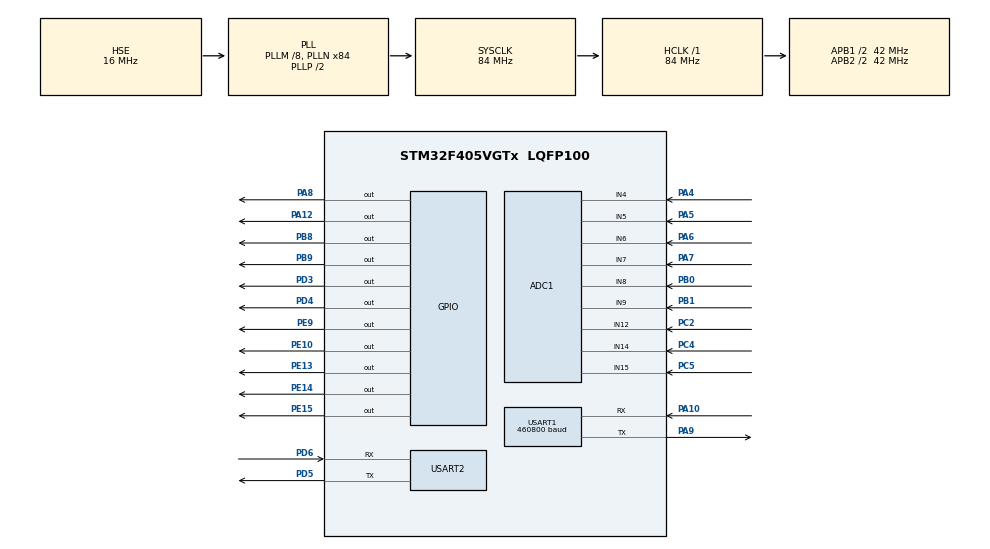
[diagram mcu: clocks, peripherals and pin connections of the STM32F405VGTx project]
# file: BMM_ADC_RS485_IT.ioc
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ADC1.Channel-0\#ChannelRegularConversion=ADC_CHANNEL_4
ADC1.Channel-1\#ChannelRegularConversion=ADC_CHANNEL_5
ADC1.Channel-2\#ChannelRegularConversion=ADC_CHANNEL_6
ADC1.Channel-3\#ChannelRegularConversion=ADC_CHANNEL_7
ADC1.Channel-4\#ChannelRegularConversion=ADC_CHANNEL_8
ADC1.Channel-5\#ChannelRegularConversion=ADC_CHANNEL_9
ADC1.Channel-6\#ChannelRegularConversion=ADC_CHANNEL_12
ADC1.Channel-7\#ChannelRegularConversion=ADC_CHANNEL_14
ADC1.Channel-8\#ChannelRegularConversion=ADC_CHANNEL_15
ADC1.ContinuousConvMode=ENABLE
ADC1.NbrOfConversion=9
ADC1.NbrOfConversionFlag=1
ADC1.Rank-0\#ChannelRegularConversion=1
ADC1.Rank-1\#ChannelRegularConversion=2
ADC1.Rank-2\#ChannelRegularConversion=3
ADC1.Rank-3\#ChannelRegularConversion=4
ADC1.Rank-4\#ChannelRegularConversion=5
ADC1.Rank-5\#ChannelRegularConversion=6
ADC1.Rank-6\#ChannelRegularConversion=7
ADC1.Rank-7\#ChannelRegularConversion=8
ADC1.Rank-8\#ChannelRegularConversion=9
ADC1.SamplingTime-0\#ChannelRegularConversion=ADC_SAMPLETIME_480CYCLES
ADC1.SamplingTime-1\#ChannelRegularConversion=ADC_SAMPLETIME_480CYCLES
ADC1.SamplingTime-2\#ChannelRegularConversion=ADC_SAMPLETIME_480CYCLES
ADC1.SamplingTime-3\#ChannelRegularConversion=ADC_SAMPLETIME_480CYCLES
ADC1.SamplingTime-4\#ChannelRegularConversion=ADC_SAMPLETIME_480CYCLES
ADC1.SamplingTime-5\#ChannelRegularConversion=ADC_SAMPLETIME_480CYCLES
ADC1.SamplingTime-6\#ChannelRegularConversion=ADC_SAMPLETIME_480CYCLES
ADC1.SamplingTime-7\#ChannelRegularConversion=ADC_SAMPLETIME_480CYCLES
ADC1.SamplingTime-8\#ChannelRegularConversion=ADC_SAMPLETIME_480CYCLES
ADC1.master=1
Mcu.Family=STM32F4
Mcu.Name=STM32F405VGTx
Mcu.Package=LQFP100
NVIC.PriorityGroup=NVIC_PRIORITYGROUP_4
NVIC.TIM2_IRQn=true\:0\:0\:false\:false\:true\:true\:true
PA10.Mode=Asynchronous
PA10.Signal=USART1_RX
PA12.Signal=GPIO_Output
PA13.Mode=Serial_Wire
PA13.Signal=SYS_JTMS-SWDIO
PA14.Mode=Serial_Wire
PA14.Signal=SYS_JTCK-SWCLK
PA4.Signal=ADCx_IN4
PA5.Signal=ADCx_IN5
PA6.Signal=ADCx_IN6
PA7.Signal=ADCx_IN7
PA8.Signal=GPIO_Output
PA9.Mode=Asynchronous
PA9.Signal=USART1_TX
PB0.Signal=ADCx_IN8
PB1.Signal=ADCx_IN9
PB8.Signal=GPIO_Output
PB9.Signal=GPIO_Output
PC2.Signal=ADCx_IN12
PC4.Signal=ADCx_IN14
PC5.Signal=ADCx_IN15
PD3.Signal=GPIO_Output
PD4.Signal=GPIO_Output
PD5.Mode=Asynchronous
PD5.Signal=USART2_TX
PD6.Mode=Asynchronous
PD6.Signal=USART2_RX
PE10.GPIO_PuPd=GPIO_NOPULL
PE10.PinState=GPIO_PIN_RESET
PE10.Signal=GPIO_Output
PE13.Signal=GPIO_Output
PE14.Signal=GPIO_Output
PE15.Signal=GPIO_Output
PE9.Signal=GPIO_Output
PH0-OSC_IN.Mode=HSE-External-Oscillator
PH0-OSC_IN.Signal=RCC_OSC_IN
PH1-OSC_OUT.Mode=HSE-External-Oscillator
PH1-OSC_OUT.Signal=RCC_OSC_OUT
ProjectManager.HeapSize=0x200
ProjectManager.StackSize=0x400
ProjectManager.TargetToolchain=STM32CubeIDE
RCC.48MHZClocksFreq_Value=42000000
RCC.AHBFreq_Value=84000000
RCC.APB1CLKDivider=RCC_HCLK_DIV2
RCC.APB1Freq_Value=42000000
RCC.APB1TimFreq_Value=84000000
RCC.APB2CLKDivider=RCC_HCLK_DIV2
RCC.APB2Freq_Value=42000000
RCC.APB2TimFreq_Value=84000000
RCC.CortexFreq_Value=10500000
RCC.Cortex_Div=SYSTICK_CLKSOURCE_HCLK_DIV8
RCC.HCLKFreq_Value=84000000
RCC.HSE_VALUE=16000000
RCC.HSI_VALUE=16000000
RCC.LSE_VALUE=32768
RCC.PLLM=8
RCC.PLLN=84
RCC.PLLSourceVirtual=RCC_PLLSOURCE_HSE
RCC.SYSCLKFreq_VALUE=84000000
RCC.SYSCLKSource=RCC_SYSCLKSOURCE_PLLCLK
RCC.VCOOutputFreq_Value=168000000
SH.ADCx_IN12.0=ADC1_IN12,IN12
SH.ADCx_IN14.0=ADC1_IN14,IN14
SH.ADCx_IN15.0=ADC1_IN15,IN15
SH.ADCx_IN4.0=ADC1_IN4,IN4
SH.ADCx_IN5.0=ADC1_IN5,IN5
SH.ADCx_IN6.0=ADC1_IN6,IN6
SH.ADCx_IN7.0=ADC1_IN7,IN7
SH.ADCx_IN8.0=ADC1_IN8,IN8
SH.ADCx_IN9.0=ADC1_IN9,IN9
TIM2.AutoReloadPreload=TIM_AUTORELOAD_PRELOAD_ENABLE
TIM2.Period=1
TIM2.Prescaler=8400
USART1.BaudRate=460800
USART1.VirtualMode=VM_ASYNC
USART2.VirtualMode=VM_ASYNC
VP_TIM2_VS_ClockSourceINT.Mode=Internal
board=custom

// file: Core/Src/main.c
/* USER CODE BEGIN Header */
/**
  ******************************************************************************
  * @file           : main.c
  * @brief          : Main program body
  ******************************************************************************
  * @attention
  *
  * <h2><center>&copy; Copyright (c) 2021 STMicroelectronics.
  * All rights reserved.</center></h2>
  *
  * This software component is licensed by ST under BSD 3-Clause license,
  * the "License"; You may not use this file except in compliance with the
  * License. You may obtain a copy of the License at:
  *                        opensource.org/licenses/BSD-3-Clause
  *
  ******************************************************************************
  */
/* USER CODE END Header */
#include "main.h"
#include <math.h>
#include "stdio.h"

ADC_HandleTypeDef hadc1;

TIM_HandleTypeDef htim2;

UART_HandleTypeDef huart1;
UART_HandleTypeDef huart2;

void SystemClock_Config(void);
static void MX_GPIO_Init(void);
static void MX_ADC1_Init(void);
static void MX_TIM2_Init(void);
static void MX_USART1_UART_Init(void);
static void MX_USART2_UART_Init(void);
/* USER CODE BEGIN PFP */
ADC_ChannelConfTypeDef sConfig = {0};
/* USER CODE END PFP */

/* USER CODE BEGIN 0 */
//*************************funtion creation to select de channels ADC*******************************************
void SelectCh4 (void){
	ADC_ChannelConfTypeDef sConfig = {0};
	sConfig.Channel = ADC_CHANNEL_4;
	  sConfig.Rank = 1;
	  sConfig.SamplingTime = ADC_SAMPLETIME_480CYCLES;
	  if (HAL_ADC_ConfigChannel(&hadc1, &sConfig) != HAL_OK)
	  {
	    Error_Handler();
	  }
}

void SelectCh5 (void){
	ADC_ChannelConfTypeDef sConfig = {0};
	sConfig.Channel = ADC_CHANNEL_5;
	  sConfig.Rank = 1;
	  sConfig.SamplingTime = ADC_SAMPLETIME_480CYCLES;
	  if (HAL_ADC_ConfigChannel(&hadc1, &sConfig) != HAL_OK)
	  {
	    Error_Handler();
	  }

}

void SelectCh6 (void){
	ADC_ChannelConfTypeDef sConfig = {0};

	sConfig.Channel = ADC_CHANNEL_6;
	  sConfig.Rank = 1;
	  sConfig.SamplingTime = ADC_SAMPLETIME_480CYCLES;
	  if (HAL_ADC_ConfigChannel(&hadc1, &sConfig) != HAL_OK)
	  {
	    Error_Handler();
	  }

}

void SelectCh7 (void){
	ADC_ChannelConfTypeDef sConfig = {0};
	sConfig.Channel = ADC_CHANNEL_7;
	  sConfig.Rank = 1;
	  sConfig.SamplingTime = ADC_SAMPLETIME_480CYCLES;
	  if (HAL_ADC_ConfigChannel(&hadc1, &sConfig) != HAL_OK)
	  {
	    Error_Handler();
	  }

}

void SelectCh8 (void){
	ADC_ChannelConfTypeDef sConfig = {0};
	sConfig.Channel = ADC_CHANNEL_8;
	  sConfig.Rank = 1;
	  sConfig.SamplingTime = ADC_SAMPLETIME_480CYCLES;
	  if (HAL_ADC_ConfigChannel(&hadc1, &sConfig) != HAL_OK)
	  {
	    Error_Handler();
	  }

}
void SelectCh9 (void){
	ADC_ChannelConfTypeDef sConfig = {0};
	sConfig.Channel = ADC_CHANNEL_9;
	  sConfig.Rank = 1;
	  sConfig.SamplingTime = ADC_SAMPLETIME_480CYCLES;
	  if (HAL_ADC_ConfigChannel(&hadc1, &sConfig) != HAL_OK)
	  {
	    Error_Handler();
	  }

}

void SelectCh12 (void){
	ADC_ChannelConfTypeDef sConfig = {0};
	sConfig.Channel = ADC_CHANNEL_12;
	  sConfig.Rank = 1;
	  sConfig.SamplingTime = ADC_SAMPLETIME_480CYCLES;
	  if (HAL_ADC_ConfigChannel(&hadc1, &sConfig) != HAL_OK)
	  {
	    Error_Handler();
	  }

}

void SelectCh14 (void){
	ADC_ChannelConfTypeDef sConfig = {0};
	sConfig.Channel = ADC_CHANNEL_14;
	  sConfig.Rank = 1;
	  sConfig.SamplingTime = ADC_SAMPLETIME_480CYCLES;
	  if (HAL_ADC_ConfigChannel(&hadc1, &sConfig) != HAL_OK)
	  {
	    Error_Handler();
	  }

}

void SelectCh15 (void){
	ADC_ChannelConfTypeDef sConfig = {0};
	sConfig.Channel = ADC_CHANNEL_15;
	  sConfig.Rank = 1;
	  sConfig.SamplingTime = ADC_SAMPLETIME_480CYCLES;
	  if (HAL_ADC_ConfigChannel(&hadc1, &sConfig) != HAL_OK)
	  {
	    Error_Handler();
	  }

}
//******************************************GPIO INITIALIZATION BEFORE START LOOP.............
void UART_BMM_INIT (void){

	//HAL_GPIO_WritePin(GPIOD, GPIO_PIN_13, GPIO_PIN_SET);
	//HAL_GPIO_WritePin(GPIOB, GPIO_PIN_9, GPIO_PIN_SET);
	//HAL_GPIO_WritePin(GPIOD, GPIO_PIN_11, GPIO_PIN_SET);
	//HAL_GPIO_WritePin(GPIOD, GPIO_PIN_10, GPIO_PIN_SET);
	HAL_GPIO_WritePin(GPIOA, GPIO_PIN_8, GPIO_PIN_SET);
	HAL_GPIO_WritePin(GPIOE, GPIO_PIN_10, GPIO_PIN_RESET);
	HAL_GPIO_WritePin(GPIOE, GPIO_PIN_9, GPIO_PIN_RESET);

	HAL_GPIO_WritePin(GPIOE, GPIO_PIN_10, GPIO_PIN_SET);
		HAL_GPIO_WritePin(GPIOE, GPIO_PIN_9, GPIO_PIN_SET);
}

#define buffer 100 //BUFFER TO READ VALUES OF ADC
//BUFFERS 9 BUFFERS OF 100 VALUES
int ADC_VAL[buffer];
int ADC_VAL2[buffer];
int ADC_VAL3[buffer];
int ADC_VAL4[buffer];
int ADC_VAL5[buffer];
int ADC_VAL6[buffer];
int ADC_VAL7[buffer];
int ADC_VAL8[buffer];
int ADC_VAL9[buffer];
//*********FLAG TO INDICATION OF BUFFERS ARE FILL*************
int FLAG_ADC=0;
//************STRINGS TO SEND FOR RS485************
char DATA[30];
char DATA2[30];
char DATA3[30];
char DATA4[30];
char DATA5[30];
char DATA6[30];
char DATA7[30];
char DATA8[30];
char DATA9[30];
//*******************AVERAGE TO ADC'S  100 VALUES*************
double AVG1=0;
double AVG2=0;
double AVG3=0;
double AVG4=0;
double AVG5=0;
double AVG6=0;
double AVG7=0;
double AVG8=0;
double AVG9=0;

//**************STANDARD DEVIATION OF adc'S*****************

double SD1=0;
double SD2=0;
double SD3=0;
double SD4=0;
double SD5=0;
double SD6=0;
double SD7=0;
double SD8=0;
double SD9=0;
//*****************VARIABLES TO TRANSFORM DOUBLE  INTO INTERGET
int SD1_INT=0;
int SD2_INT=0;
int SD3_INT=0;
int SD4_INT=0;
int SD5_INT=0;
int SD6_INT=0;
int SD7_INT=0;
int SD8_INT=0;
int SD9_INT=0;

int AVG_INT1=0;
int AVG_INT2=0;
int AVG_INT3=0;
int AVG_INT4=0;
int AVG_INT5=0;
int AVG_INT6=0;
int AVG_INT7=0;
int AVG_INT8=0;
int AVG_INT9=0;

//*********INDICE TO TRAVEL ON THE BUFFFER*************
int indice=0;
/* USER CODE END 0 */

int main(void)
{

  /* MCU Configuration--------------------------------------------------------*/

  /* Reset of all peripherals, Initializes the Flash interface and the Systick. */
  HAL_Init();

  /* Configure the system clock */
  SystemClock_Config();

  /* Initialize all configured peripherals */
  MX_GPIO_Init();
  MX_ADC1_Init();
  MX_TIM2_Init();
  MX_USART1_UART_Init();
  MX_USART2_UART_Init();
  /* USER CODE BEGIN 2 */
  UART_BMM_INIT();	//inicializamos pins para rs485

  HAL_TIM_Base_Start_IT(&htim2); // iniciamos timer2

  /* USER CODE END 2 */

  /* Infinite loop */
  while (1)
  {

    /* USER CODE BEGIN 3 */

		if (FLAG_ADC == 1) {
			FLAG_ADC=0;

			//calculate the average of each channel

			for(int j=0;j<=99;j++){
							AVG1=AVG1+ADC_VAL[j];

						}
			AVG1=AVG1/100;
			//avegare calculated
			//caculate de standard deviation

			for(int j=0;j<=99;j++){
			  SD1+=pow(ADC_VAL[j]-AVG1,2);
			  SD1=sqrt(SD1/100);
			 }

			AVG_INT1=AVG1;
			SD1_INT=SD1*1000;
			for(int j=0;j<=99;j++){
							AVG2=AVG2+ADC_VAL2[j];

						}
			AVG2=AVG2/100;
			//avegare calculated
						//caculate de standard deviation

						for(int j=0;j<=99;j++){
						  SD2+=pow(ADC_VAL2[j]-AVG2,2);
						  SD2=sqrt(SD2/100);
						 }

						AVG_INT2=AVG2;
						SD2_INT=SD2*1000;

			for(int j=0;j<=99;j++){
							AVG3=AVG3+ADC_VAL3[j];

						}
			AVG3=AVG3/100;
			//avegare calculated
						//caculate de standard deviation

						for(int j=0;j<=99;j++){
						  SD3+=pow(ADC_VAL3[j]-AVG3,2);
						  SD3=sqrt(SD3/100);
						 }

						AVG_INT3=AVG3;
						SD3_INT=SD3*1000;

			for(int j=0;j<=99;j++){
							AVG4=AVG4+ADC_VAL4[j];

						}
			AVG4=AVG4/100;
			//avegare calculated
						//caculate de standard deviation

						for(int j=0;j<=99;j++){
						  SD4+=pow(ADC_VAL4[j]-AVG4,2);
						  SD4=sqrt(SD4/100);
						 }

						AVG_INT4=AVG4;
						SD4_INT=SD4*1000;
			for(int j=0;j<=99;j++){
							AVG5=AVG5+ADC_VAL5[j];

						}
			AVG5=AVG5/100;
			//avegare calculated
						//caculate de standard deviation

						for(int j=0;j<=99;j++){
						  SD5+=pow(ADC_VAL5[j]-AVG5,2);
						  SD5=sqrt(SD5/100);
						 }

						AVG_INT5=AVG5;
						SD5_INT=SD5*1000;

			for(int j=0;j<=99;j++){
							AVG6=AVG6+ADC_VAL6[j];

						}
			AVG6=AVG6/100;
			//avegare calculated
						//caculate de standard deviation

						for(int j=0;j<=99;j++){
						  SD6+=pow(ADC_VAL6[j]-AVG6,2);
						  SD6=sqrt(SD6/100);
						 }

						AVG_INT6=AVG6;
						SD6_INT=SD6*1000;

			for(int j=0;j<=99;j++){
							AVG7=AVG7+ADC_VAL7[j];

						}
			AVG7=AVG7/100;
			//avegare calculated
						//caculate de standard deviation

						for(int j=0;j<=99;j++){
						  SD7+=pow(ADC_VAL7[j]-AVG7,2);
						  SD7=sqrt(SD7/100);
						 }

//***********************************TEMPERATURE MEASUREMENT*************************
						 double Rntc=0;
						 double Vtemp=(AVG7*2.5)/4096;

						 Rntc=(11000/(Vtemp+0.189268/2.8571425))-11000;

						 //Rntc=((27500/(Vtemp/0.9530))-27500)/2.5;

						double TempNTC=pow((((Rntc/10000)/3976)+(1/298.15)),-1);
						 TempNTC=TempNTC-273.15;

//******************************************************************
						AVG_INT7=AVG7;
						SD7_INT=SD7*1000;

			for(int j=0;j<=99;j++){
							AVG8=AVG8+ADC_VAL8[j];

						}
			AVG8=AVG8/100;
			//avegare calculated
						//caculate de standard deviation

						for(int j=0;j<=99;j++){
						  SD8+=pow(ADC_VAL8[j]-AVG8,2);
						  SD8=sqrt(SD8/100);
						 }

						AVG_INT8=AVG8;
						SD8_INT=SD8*1000;

			for(int j=0;j<=99;j++){
							AVG9=AVG9+ADC_VAL9[j];

									}
			AVG9=AVG9/100;
			//avegare calculated
						//caculate de standard deviation

						for(int j=0;j<=99;j++){
						  SD9+=pow(ADC_VAL9[j]-AVG9,2);
						  SD9=sqrt(SD9/100);
						 }

						AVG_INT9=AVG9;
						SD9_INT=SD9*1000;

 			HAL_GPIO_WritePin(GPIOA, GPIO_PIN_12, GPIO_PIN_SET);
			HAL_UART_Transmit(&huart1, "V1:", 3, 100);
			//for (int i = 0; i <= 99; i++) {

				sprintf(DATA, ";%d;----SIGMA:;%d", AVG_INT1,SD1_INT);

				HAL_UART_Transmit(&huart1, DATA, sizeof(DATA), HAL_MAX_DELAY);

			//}
			HAL_UART_Transmit(&huart1, "\n\r", 4, 100);

			HAL_UART_Transmit(&huart1, "V2:", 3, 100);
			//for (int i = 0; i <= 99; i++) {

			sprintf(DATA2, ";%d;----SIGMA:;%d", AVG_INT2,SD2_INT);

				HAL_UART_Transmit(&huart1, DATA2, sizeof(DATA2), HAL_MAX_DELAY);

			//}
			HAL_UART_Transmit(&huart1, "\n\r", 4, 100);

			HAL_UART_Transmit(&huart1, "V3:", 3, 100);
			//for (int i = 0; i <= 99; i++) {

			sprintf(DATA3, ";%d;----SIGMA:;%d", AVG_INT3,SD3_INT);

				HAL_UART_Transmit(&huart1, DATA3, sizeof(DATA3), HAL_MAX_DELAY);

			//}
			HAL_UART_Transmit(&huart1, "\n\r", 4, 100);

			HAL_UART_Transmit(&huart1, "V4:", 3, 100);
			//for (int i = 0; i <= 99; i++) {

			sprintf(DATA4, ";%d;----SIGMA:;%d", AVG_INT4,SD4_INT);

				HAL_UART_Transmit(&huart1, DATA4, sizeof(DATA4), HAL_MAX_DELAY);

			//}
			HAL_UART_Transmit(&huart1, "\n\r", 4, 100);

			HAL_UART_Transmit(&huart1, "V5:", 3, 100);
			//for (int i = 0; i <= 99; i++) {

			sprintf(DATA5, ";%d;----SIGMA:;%d", AVG_INT5,SD5_INT);

				HAL_UART_Transmit(&huart1, DATA5, sizeof(DATA5), HAL_MAX_DELAY);

			//}
			HAL_UART_Transmit(&huart1, "\n\r", 4, 100);

			HAL_UART_Transmit(&huart1, "V6:", 3, 100);
			//for (int i = 0; i <= 99; i++) {

			sprintf(DATA6, ";%d;----SIGMA:;%d", AVG_INT6,SD6_INT);

				HAL_UART_Transmit(&huart1, DATA6, sizeof(DATA6), HAL_MAX_DELAY);

			//}
			HAL_UART_Transmit(&huart1, "\n\r", 4, 100);

			HAL_UART_Transmit(&huart1, "V7:", 3, 100);
			//for (int i = 0; i <= 99; i++) {

			sprintf(DATA7, ";%d;----SIGMA:;%d", AVG_INT7,SD7_INT);

				HAL_UART_Transmit(&huart1, DATA7, sizeof(DATA7), HAL_MAX_DELAY);

			//}
			HAL_UART_Transmit(&huart1, "\n\r", 4, 100);

			HAL_UART_Transmit(&huart1, "V8:", 3, 100);
			//for (int i = 0; i <= 99; i++) {

			sprintf(DATA8, ";%d;----SIGMA:;%d", AVG_INT8,SD8_INT);

				HAL_UART_Transmit(&huart1, DATA8, sizeof(DATA8), HAL_MAX_DELAY);

			//}
			HAL_UART_Transmit(&huart1, "\n\r", 4, 100);

			HAL_UART_Transmit(&huart1, "V9", 3, 100);
			//for (int i = 0; i <= 99; i++) {

			sprintf(DATA9, ";%d;----SIGMA:;%d", AVG_INT9,SD9_INT);

				HAL_UART_Transmit(&huart1, DATA9, sizeof(DATA9), HAL_MAX_DELAY);

			//}
			HAL_UART_Transmit(&huart1, "\n\r", 4, 100);

		  HAL_GPIO_WritePin(GPIOA, GPIO_PIN_12, GPIO_PIN_RESET);
		  HAL_TIM_Base_Start_IT(&htim2);

//reset variables
		  AVG1=0;
		  AVG2=0;
		  AVG3=0;
		  AVG4=0;
		  AVG5=0;
		  AVG6=0;
		  AVG7=0;
		  AVG8=0;
		  AVG9=0;
		  SD1=0;
		  SD2=0;
		  SD3=0;
		  SD4=0;
		  SD5=0;
		  SD6=0;
		  SD7=0;
		  SD8=0;
		  SD9=0;

	  }
  }
  /* USER CODE END 3 */
}

void SystemClock_Config(void)
{
  RCC_OscInitTypeDef RCC_OscInitStruct = {0};
  RCC_ClkInitTypeDef RCC_ClkInitStruct = {0};

  /** Configure the main internal regulator output voltage
  */
  __HAL_RCC_PWR_CLK_ENABLE();
  __HAL_PWR_VOLTAGESCALING_CONFIG(PWR_REGULATOR_VOLTAGE_SCALE1);
  /** Initializes the RCC Oscillators according to the specified parameters
  * in the RCC_OscInitTypeDef structure.
  */
  RCC_OscInitStruct.OscillatorType = RCC_OSCILLATORTYPE_HSE;
  RCC_OscInitStruct.HSEState = RCC_HSE_ON;
  RCC_OscInitStruct.PLL.PLLState = RCC_PLL_ON;
  RCC_OscInitStruct.PLL.PLLSource = RCC_PLLSOURCE_HSE;
  RCC_OscInitStruct.PLL.PLLM = 8;
  RCC_OscInitStruct.PLL.PLLN = 84;
  RCC_OscInitStruct.PLL.PLLP = RCC_PLLP_DIV2;
  RCC_OscInitStruct.PLL.PLLQ = 4;
  if (HAL_RCC_OscConfig(&RCC_OscInitStruct) != HAL_OK)
  {
    Error_Handler();
  }
  /** Initializes the CPU, AHB and APB buses clocks
  */
  RCC_ClkInitStruct.ClockType = RCC_CLOCKTYPE_HCLK|RCC_CLOCKTYPE_SYSCLK
                              |RCC_CLOCKTYPE_PCLK1|RCC_CLOCKTYPE_PCLK2;
  RCC_ClkInitStruct.SYSCLKSource = RCC_SYSCLKSOURCE_PLLCLK;
  RCC_ClkInitStruct.AHBCLKDivider = RCC_SYSCLK_DIV1;
  RCC_ClkInitStruct.APB1CLKDivider = RCC_HCLK_DIV2;
  RCC_ClkInitStruct.APB2CLKDivider = RCC_HCLK_DIV2;

  if (HAL_RCC_ClockConfig(&RCC_ClkInitStruct, FLASH_LATENCY_2) != HAL_OK)
  {
    Error_Handler();
  }
}

static void MX_ADC1_Init(void)
{

  ADC_ChannelConfTypeDef sConfig = {0};

  /** Configure the global features of the ADC (Clock, Resolution, Data Alignment and number of conversion)
  */
  hadc1.Instance = ADC1;
  hadc1.Init.ClockPrescaler = ADC_CLOCK_SYNC_PCLK_DIV2;
  hadc1.Init.Resolution = ADC_RESOLUTION_12B;
  hadc1.Init.ScanConvMode = ENABLE;
  hadc1.Init.ContinuousConvMode = ENABLE;
  hadc1.Init.DiscontinuousConvMode = DISABLE;
  hadc1.Init.ExternalTrigConvEdge = ADC_EXTERNALTRIGCONVEDGE_NONE;
  hadc1.Init.ExternalTrigConv = ADC_SOFTWARE_START;
  hadc1.Init.DataAlign = ADC_DATAALIGN_RIGHT;
  hadc1.Init.NbrOfConversion = 9;
  hadc1.Init.DMAContinuousRequests = DISABLE;
  hadc1.Init.EOCSelection = ADC_EOC_SINGLE_CONV;
  if (HAL_ADC_Init(&hadc1) != HAL_OK)
  {
    Error_Handler();
  }
  /** Configure for the selected ADC regular channel its corresponding rank in the sequencer and its sample time.
  */
  sConfig.Channel = ADC_CHANNEL_4;
  sConfig.Rank = 1;
  sConfig.SamplingTime = ADC_SAMPLETIME_480CYCLES;
  if (HAL_ADC_ConfigChannel(&hadc1, &sConfig) != HAL_OK)
  {
    Error_Handler();
  }
  /** Configure for the selected ADC regular channel its corresponding rank in the sequencer and its sample time.
  */
  sConfig.Channel = ADC_CHANNEL_5;
  sConfig.Rank = 2;
  if (HAL_ADC_ConfigChannel(&hadc1, &sConfig) != HAL_OK)
  {
    Error_Handler();
  }
  /** Configure for the selected ADC regular channel its corresponding rank in the sequencer and its sample time.
  */
  sConfig.Channel = ADC_CHANNEL_6;
  sConfig.Rank = 3;
  if (HAL_ADC_ConfigChannel(&hadc1, &sConfig) != HAL_OK)
  {
    Error_Handler();
  }
  /** Configure for the selected ADC regular channel its corresponding rank in the sequencer and its sample time.
  */
  sConfig.Channel = ADC_CHANNEL_7;
  sConfig.Rank = 4;
  if (HAL_ADC_ConfigChannel(&hadc1, &sConfig) != HAL_OK)
  {
    Error_Handler();
  }
  /** Configure for the selected ADC regular channel its corresponding rank in the sequencer and its sample time.
  */
  sConfig.Channel = ADC_CHANNEL_8;
  sConfig.Rank = 5;
  if (HAL_ADC_ConfigChannel(&hadc1, &sConfig) != HAL_OK)
  {
    Error_Handler();
  }
  /** Configure for the selected ADC regular channel its corresponding rank in the sequencer and its sample time.
  */
  sConfig.Channel = ADC_CHANNEL_9;
  sConfig.Rank = 6;
  if (HAL_ADC_ConfigChannel(&hadc1, &sConfig) != HAL_OK)
  {
    Error_Handler();
  }
  /** Configure for the selected ADC regular channel its corresponding rank in the sequencer and its sample time.
  */
  sConfig.Channel = ADC_CHANNEL_12;
  sConfig.Rank = 7;
  if (HAL_ADC_ConfigChannel(&hadc1, &sConfig) != HAL_OK)
  {
    Error_Handler();
  }
  /** Configure for the selected ADC regular channel its corresponding rank in the sequencer and its sample time.
  */
  sConfig.Channel = ADC_CHANNEL_14;
  sConfig.Rank = 8;
  if (HAL_ADC_ConfigChannel(&hadc1, &sConfig) != HAL_OK)
  {
    Error_Handler();
  }
  /** Configure for the selected ADC regular channel its corresponding rank in the sequencer and its sample time.
  */
  sConfig.Channel = ADC_CHANNEL_15;
  sConfig.Rank = 9;
  if (HAL_ADC_ConfigChannel(&hadc1, &sConfig) != HAL_OK)
  {
    Error_Handler();
  }

}

static void MX_TIM2_Init(void)
{

  TIM_ClockConfigTypeDef sClockSourceConfig = {0};
  TIM_MasterConfigTypeDef sMasterConfig = {0};

  htim2.Instance = TIM2;
  htim2.Init.Prescaler = 8400;
  htim2.Init.CounterMode = TIM_COUNTERMODE_UP;
  htim2.Init.Period = 1;
  htim2.Init.ClockDivision = TIM_CLOCKDIVISION_DIV1;
  htim2.Init.AutoReloadPreload = TIM_AUTORELOAD_PRELOAD_ENABLE;
  if (HAL_TIM_Base_Init(&htim2) != HAL_OK)
  {
    Error_Handler();
  }
  sClockSourceConfig.ClockSource = TIM_CLOCKSOURCE_INTERNAL;
  if (HAL_TIM_ConfigClockSource(&htim2, &sClockSourceConfig) != HAL_OK)
  {
    Error_Handler();
  }
  sMasterConfig.MasterOutputTrigger = TIM_TRGO_RESET;
  sMasterConfig.MasterSlaveMode = TIM_MASTERSLAVEMODE_DISABLE;
  if (HAL_TIMEx_MasterConfigSynchronization(&htim2, &sMasterConfig) != HAL_OK)
  {
    Error_Handler();
  }

}

static void MX_USART1_UART_Init(void)
{

  huart1.Instance = USART1;
  huart1.Init.BaudRate = 460800;
  huart1.Init.WordLength = UART_WORDLENGTH_8B;
  huart1.Init.StopBits = UART_STOPBITS_1;
  huart1.Init.Parity = UART_PARITY_NONE;
  huart1.Init.Mode = UART_MODE_TX_RX;
  huart1.Init.HwFlowCtl = UART_HWCONTROL_NONE;
  huart1.Init.OverSampling = UART_OVERSAMPLING_16;
  if (HAL_UART_Init(&huart1) != HAL_OK)
  {
    Error_Handler();
  }

}

static void MX_USART2_UART_Init(void)
{

  huart2.Instance = USART2;
  huart2.Init.BaudRate = 115200;
  huart2.Init.WordLength = UART_WORDLENGTH_8B;
  huart2.Init.StopBits = UART_STOPBITS_1;
  huart2.Init.Parity = UART_PARITY_NONE;
  huart2.Init.Mode = UART_MODE_TX_RX;
  huart2.Init.HwFlowCtl = UART_HWCONTROL_NONE;
  huart2.Init.OverSampling = UART_OVERSAMPLING_16;
  if (HAL_UART_Init(&huart2) != HAL_OK)
  {
    Error_Handler();
  }

}

static void MX_GPIO_Init(void)
{
  GPIO_InitTypeDef GPIO_InitStruct = {0};

  /* GPIO Ports Clock Enable */
  __HAL_RCC_GPIOH_CLK_ENABLE();
  __HAL_RCC_GPIOC_CLK_ENABLE();
  __HAL_RCC_GPIOA_CLK_ENABLE();
  __HAL_RCC_GPIOB_CLK_ENABLE();
  __HAL_RCC_GPIOE_CLK_ENABLE();
  __HAL_RCC_GPIOD_CLK_ENABLE();

  /*Configure GPIO pin Output Level */
  HAL_GPIO_WritePin(GPIOE, GPIO_PIN_9|GPIO_PIN_10|GPIO_PIN_13|GPIO_PIN_14
                          |GPIO_PIN_15, GPIO_PIN_RESET);

  /*Configure GPIO pin Output Level */
  HAL_GPIO_WritePin(GPIOA, GPIO_PIN_8|GPIO_PIN_12, GPIO_PIN_RESET);

  /*Configure GPIO pin Output Level */
  HAL_GPIO_WritePin(GPIOD, GPIO_PIN_3|GPIO_PIN_4, GPIO_PIN_RESET);

  /*Configure GPIO pin Output Level */
  HAL_GPIO_WritePin(GPIOB, GPIO_PIN_8|GPIO_PIN_9, GPIO_PIN_RESET);

  /*Configure GPIO pins : PE9 PE10 PE13 PE14
                           PE15 */
  GPIO_InitStruct.Pin = GPIO_PIN_9|GPIO_PIN_10|GPIO_PIN_13|GPIO_PIN_14
                          |GPIO_PIN_15;
  GPIO_InitStruct.Mode = GPIO_MODE_OUTPUT_PP;
  GPIO_InitStruct.Pull = GPIO_NOPULL;
  GPIO_InitStruct.Speed = GPIO_SPEED_FREQ_LOW;
  HAL_GPIO_Init(GPIOE, &GPIO_InitStruct);

  /*Configure GPIO pins : PA8 PA12 */
  GPIO_InitStruct.Pin = GPIO_PIN_8|GPIO_PIN_12;
  GPIO_InitStruct.Mode = GPIO_MODE_OUTPUT_PP;
  GPIO_InitStruct.Pull = GPIO_NOPULL;
  GPIO_InitStruct.Speed = GPIO_SPEED_FREQ_LOW;
  HAL_GPIO_Init(GPIOA, &GPIO_InitStruct);

  /*Configure GPIO pins : PD3 PD4 */
  GPIO_InitStruct.Pin = GPIO_PIN_3|GPIO_PIN_4;
  GPIO_InitStruct.Mode = GPIO_MODE_OUTPUT_PP;
  GPIO_InitStruct.Pull = GPIO_NOPULL;
  GPIO_InitStruct.Speed = GPIO_SPEED_FREQ_LOW;
  HAL_GPIO_Init(GPIOD, &GPIO_InitStruct);

  /*Configure GPIO pins : PB8 PB9 */
  GPIO_InitStruct.Pin = GPIO_PIN_8|GPIO_PIN_9;
  GPIO_InitStruct.Mode = GPIO_MODE_OUTPUT_PP;
  GPIO_InitStruct.Pull = GPIO_NOPULL;
  GPIO_InitStruct.Speed = GPIO_SPEED_FREQ_LOW;
  HAL_GPIO_Init(GPIOB, &GPIO_InitStruct);

}

/* USER CODE BEGIN 4 */
void 	HAL_TIM_PeriodElapsedCallback (TIM_HandleTypeDef *htim){

		SelectCh4();
	  	  	HAL_ADC_Start(&hadc1);
	  	  	HAL_ADC_PollForConversion(&hadc1, 100);
	  	    ADC_VAL[indice]=HAL_ADC_GetValue(&hadc1);
	  	    HAL_ADC_Stop(&hadc1);

	  	  SelectCh5();
	  	  	  	  	HAL_ADC_Start(&hadc1);
	  	  	  	  	HAL_ADC_PollForConversion(&hadc1, 100);
	  	  	  	    ADC_VAL2[indice]=HAL_ADC_GetValue(&hadc1);
	  	  	  	    HAL_ADC_Stop(&hadc1);
	  	  	  	SelectCh6();
	  	  	  		  	  	HAL_ADC_Start(&hadc1);
	  	  	  		  	  	HAL_ADC_PollForConversion(&hadc1, 100);
	  	  	  		  	    ADC_VAL3[indice]=HAL_ADC_GetValue(&hadc1);
	  	  	  		  	    HAL_ADC_Stop(&hadc1);
	  	  	  		  SelectCh7();
	  	  	  		  	  	  	HAL_ADC_Start(&hadc1);
	  	  	  		  	  	  	HAL_ADC_PollForConversion(&hadc1, 100);
	  	  	  		  	  	    ADC_VAL4[indice]=HAL_ADC_GetValue(&hadc1);
	  	  	  		  	  	    HAL_ADC_Stop(&hadc1);
	  	  	  		  	SelectCh8();
	  	  	  		  		  	  	HAL_ADC_Start(&hadc1);
	  	  	  		  		  	  	HAL_ADC_PollForConversion(&hadc1, 100);
	  	  	  		  		  	    ADC_VAL5[indice]=HAL_ADC_GetValue(&hadc1);
	  	  	  		  		  	    HAL_ADC_Stop(&hadc1);
	  	  	  		  		SelectCh9();
	  	  	  		  			  	  	HAL_ADC_Start(&hadc1);
	  	  	  		  			  	  	HAL_ADC_PollForConversion(&hadc1, 100);
	  	  	  		  			  	    ADC_VAL6[indice]=HAL_ADC_GetValue(&hadc1);
	  	  	  		  			  	    HAL_ADC_Stop(&hadc1);
	  	  	  		  			SelectCh12();
	  	  	  		  				  	  	HAL_ADC_Start(&hadc1);
	  	  	  		  				  	  	HAL_ADC_PollForConversion(&hadc1, 100);
	  	  	  		  				  	    ADC_VAL7[indice]=HAL_ADC_GetValue(&hadc1);
	  	  	  		  				  	    HAL_ADC_Stop(&hadc1);
	  	  	  		  				SelectCh14();
	  	  	  		  					  	  	HAL_ADC_Start(&hadc1);
	  	  	  		  					  	  	HAL_ADC_PollForConversion(&hadc1, 100);
	  	  	  		  					  	    ADC_VAL8[indice]=HAL_ADC_GetValue(&hadc1);
	  	  	  		  					  	    HAL_ADC_Stop(&hadc1);

	  	  	  		  					SelectCh15();
	  	  	  		  						  	  	HAL_ADC_Start(&hadc1);
	  	  	  		  						  	  	HAL_ADC_PollForConversion(&hadc1, 100);
	  	  	  		  						  	    ADC_VAL9[indice]=HAL_ADC_GetValue(&hadc1);
	  	  	  		  						  	    HAL_ADC_Stop(&hadc1);

	  	    indice++;
	  	    if (indice>=buffer){
	  	    	HAL_TIM_Base_Stop_IT(&htim2);
	  	    	FLAG_ADC=1;
 	  	    		indice=0;
	  	    }
}
/* USER CODE END 4 */

void Error_Handler(void)
{
  __disable_irq();
  while (1)
  {
  }
}

/************************ (C) COPYRIGHT STMicroelectronics *****END OF FILE****/
